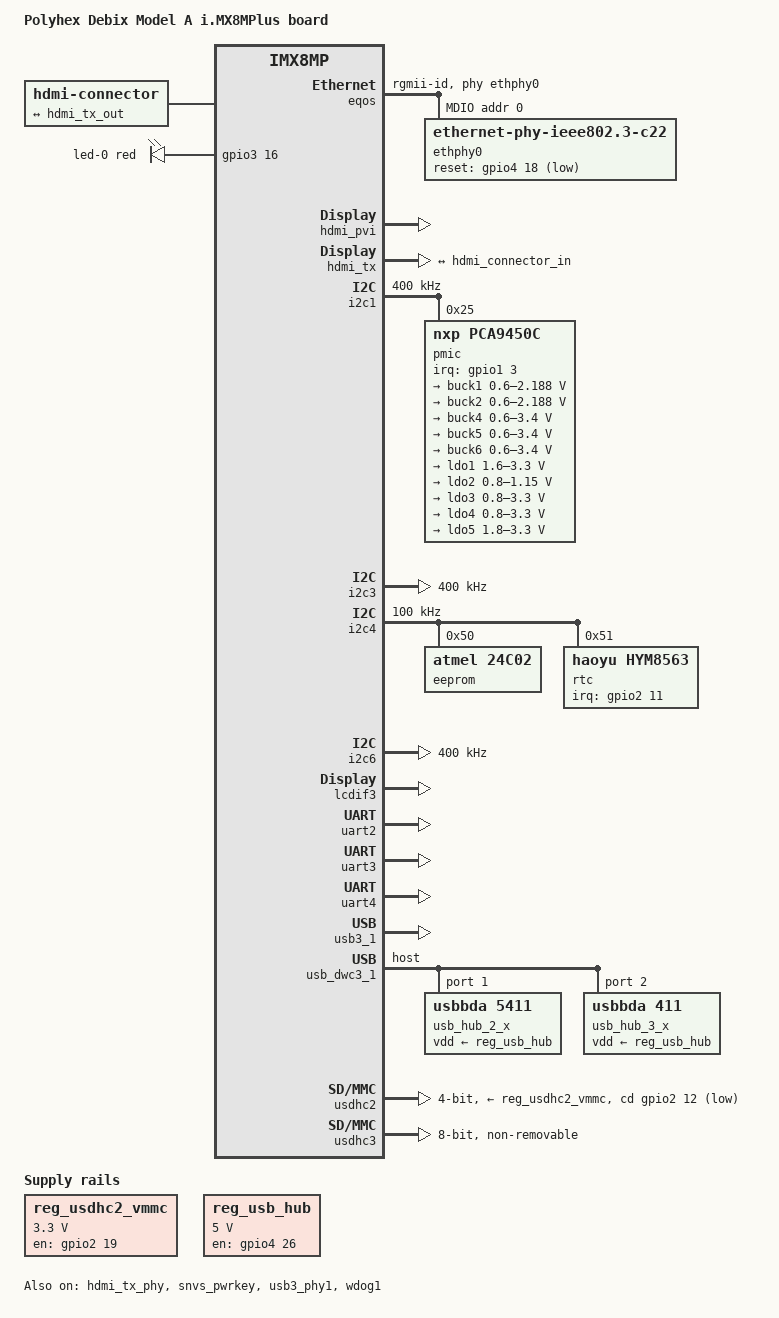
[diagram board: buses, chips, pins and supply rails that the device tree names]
// SPDX-License-Identifier: (GPL-2.0+ OR MIT)
/*
 * Copyright 2019 NXP
 * Copyright 2022 Ideas on Board Oy
 */

/dts-v1/;

#include <dt-bindings/gpio/gpio.h>
#include <dt-bindings/leds/common.h>
#include <dt-bindings/usb/pd.h>

#include "imx8mp.dtsi"

/ {
	model = "Polyhex Debix Model A i.MX8MPlus board";
	compatible = "polyhex,imx8mp-debix-model-a", "polyhex,imx8mp-debix", "fsl,imx8mp";

	chosen {
		stdout-path = &uart2;
	};

	hdmi-connector {
		compatible = "hdmi-connector";
		label = "hdmi";
		type = "a";

		port {
			hdmi_connector_in: endpoint {
				remote-endpoint = <&hdmi_tx_out>;
			};
		};
	};

	leds {
		compatible = "gpio-leds";
		pinctrl-names = "default";
		pinctrl-0 = <&pinctrl_gpio_led>;

		led-0 {
			function = LED_FUNCTION_POWER;
			color = <LED_COLOR_ID_RED>;
			gpios = <&gpio3 16 GPIO_ACTIVE_HIGH>;
			default-state = "on";
		};
	};

	reg_usdhc2_vmmc: regulator-usdhc2 {
		compatible = "regulator-fixed";
		pinctrl-names = "default";
		pinctrl-0 = <&pinctrl_reg_usdhc2_vmmc>;
		regulator-name = "VSD_3V3";
		regulator-min-microvolt = <3300000>;
		regulator-max-microvolt = <3300000>;
		gpio = <&gpio2 19 GPIO_ACTIVE_HIGH>;
		enable-active-high;
	};

	reg_usb_hub: regulator-usb-hub {
		compatible = "regulator-fixed";
		pinctrl-names = "default";
		pinctrl-0 = <&pinctrl_reg_usb_hub>;
		regulator-name = "USB_HUB";
		regulator-min-microvolt = <5000000>;
		regulator-max-microvolt = <5000000>;
		gpio = <&gpio4 26 GPIO_ACTIVE_HIGH>;
		enable-active-high;
	};
};

&A53_0 {
	cpu-supply = <&buck2>;
};

&A53_1 {
	cpu-supply = <&buck2>;
};

&A53_2 {
	cpu-supply = <&buck2>;
};

&A53_3 {
	cpu-supply = <&buck2>;
};

&eqos {
	pinctrl-names = "default";
	pinctrl-0 = <&pinctrl_eqos>;
	phy-mode = "rgmii-id";
	phy-handle = <&ethphy0>;
	status = "okay";

	mdio {
		compatible = "snps,dwmac-mdio";
		#address-cells = <1>;
		#size-cells = <0>;

		ethphy0: ethernet-phy@0 { /* RTL8211E */
			compatible = "ethernet-phy-ieee802.3-c22";
			reg = <0>;
			reset-gpios = <&gpio4 18 GPIO_ACTIVE_LOW>;
			reset-assert-us = <20>;
			reset-deassert-us = <200000>;
		};
	};
};

&hdmi_pvi {
	status = "okay";
};

&hdmi_tx {
	pinctrl-names = "default";
	pinctrl-0 = <&pinctrl_hdmi>;
	status = "okay";

	ports {
		port@1 {
			hdmi_tx_out: endpoint {
				remote-endpoint = <&hdmi_connector_in>;
			};
		};
	};
};

&hdmi_tx_phy {
	status = "okay";
};

&i2c1 {
	clock-frequency = <400000>;
	pinctrl-names = "default";
	pinctrl-0 = <&pinctrl_i2c1>;
	status = "okay";

	pmic@25 {
		compatible = "nxp,pca9450c";
		reg = <0x25>;
		pinctrl-names = "default";
		pinctrl-0 = <&pinctrl_pmic>;
		interrupt-parent = <&gpio1>;
		interrupts = <3 IRQ_TYPE_EDGE_RISING>;

		regulators {
			buck1: BUCK1 {
				regulator-name = "BUCK1";
				regulator-min-microvolt = <600000>;
				regulator-max-microvolt = <2187500>;
				regulator-boot-on;
				regulator-always-on;
				regulator-ramp-delay = <3125>;
			};

			buck2: BUCK2 {
				regulator-name = "BUCK2";
				regulator-min-microvolt = <600000>;
				regulator-max-microvolt = <2187500>;
				regulator-boot-on;
				regulator-always-on;
				regulator-ramp-delay = <3125>;
				nxp,dvs-run-voltage = <950000>;
				nxp,dvs-standby-voltage = <850000>;
			};

			buck4: BUCK4 {
				regulator-name = "BUCK4";
				regulator-min-microvolt = <600000>;
				regulator-max-microvolt = <3400000>;
				regulator-boot-on;
				regulator-always-on;
			};

			buck5: BUCK5 {
				regulator-name = "BUCK5";
				regulator-min-microvolt = <600000>;
				regulator-max-microvolt = <3400000>;
				regulator-boot-on;
				regulator-always-on;
			};

			buck6: BUCK6 {
				regulator-name = "BUCK6";
				regulator-min-microvolt = <600000>;
				regulator-max-microvolt = <3400000>;
				regulator-boot-on;
				regulator-always-on;
			};

			ldo1: LDO1 {
				regulator-name = "LDO1";
				regulator-min-microvolt = <1600000>;
				regulator-max-microvolt = <3300000>;
				regulator-boot-on;
				regulator-always-on;
			};

			ldo2: LDO2 {
				regulator-name = "LDO2";
				regulator-min-microvolt = <800000>;
				regulator-max-microvolt = <1150000>;
				regulator-boot-on;
				regulator-always-on;
			};

			ldo3: LDO3 {
				regulator-name = "LDO3";
				regulator-min-microvolt = <800000>;
				regulator-max-microvolt = <3300000>;
				regulator-boot-on;
				regulator-always-on;
			};

			ldo4: LDO4 {
				regulator-name = "LDO4";
				regulator-min-microvolt = <800000>;
				regulator-max-microvolt = <3300000>;
				regulator-boot-on;
				regulator-always-on;
			};

			ldo5: LDO5 {
				regulator-name = "LDO5";
				regulator-min-microvolt = <1800000>;
				regulator-max-microvolt = <3300000>;
				regulator-boot-on;
				regulator-always-on;
			};
		};
	};
};

&i2c2 {
	pinctrl-names = "default";
	pinctrl-0 = <&pinctrl_i2c2>;
};

&i2c3 {
	clock-frequency = <400000>;
	pinctrl-names = "default";
	pinctrl-0 = <&pinctrl_i2c3>;
	status = "okay";
};

&i2c4 {
	clock-frequency = <100000>;
	pinctrl-names = "default";
	pinctrl-0 = <&pinctrl_i2c4>;
	status = "okay";

	eeprom@50 {
		compatible = "atmel,24c02";
		reg = <0x50>;
		pagesize = <16>;
	};

	rtc@51 {
		compatible = "haoyu,hym8563";
		reg = <0x51>;
		#clock-cells = <0>;
		clock-output-names = "xin32k";
		interrupt-parent = <&gpio2>;
		interrupts = <11 IRQ_TYPE_EDGE_FALLING>;
		pinctrl-names = "default";
		pinctrl-0 = <&pinctrl_rtc_int>;
	};
};

&i2c6 {
	clock-frequency = <400000>;
	pinctrl-names = "default";
	pinctrl-0 = <&pinctrl_i2c6>;
	status = "okay";
};

&lcdif3 {
	status = "okay";
};

&snvs_pwrkey {
	status = "okay";
};

&uart2 {
	/* console */
	pinctrl-names = "default";
	pinctrl-0 = <&pinctrl_uart2>;
	status = "okay";
};

&uart3 {
	pinctrl-names = "default";
	pinctrl-0 = <&pinctrl_uart3>;
	status = "okay";
};

&uart4 {
	pinctrl-names = "default";
	pinctrl-0 = <&pinctrl_uart4>;
	status = "okay";
};

&usb3_phy1 {
	status = "okay";
};

&usb3_1 {
	status = "okay";
};

&usb_dwc3_1 {
	#address-cells = <1>;
	#size-cells = <0>;
	pinctrl-names = "default";
	pinctrl-0 = <&pinctrl_usb1>;
	dr_mode = "host";
	status = "okay";

	/* 2.x hub on port 1 */
	usb_hub_2_x: hub@1 {
		compatible = "usbbda,5411";
		reg = <1>;
		vdd-supply = <&reg_usb_hub>;
		peer-hub = <&usb_hub_3_x>;
	};

	/* 3.x hub on port 2 */
	usb_hub_3_x: hub@2 {
		compatible = "usbbda,411";
		reg = <2>;
		vdd-supply = <&reg_usb_hub>;
		peer-hub = <&usb_hub_2_x>;
	};
};

/* SD Card */
&usdhc2 {
	pinctrl-names = "default", "state_100mhz", "state_200mhz";
	pinctrl-0 = <&pinctrl_usdhc2>, <&pinctrl_usdhc2_gpio>;
	pinctrl-1 = <&pinctrl_usdhc2_100mhz>, <&pinctrl_usdhc2_gpio>;
	pinctrl-2 = <&pinctrl_usdhc2_200mhz>, <&pinctrl_usdhc2_gpio>;
	cd-gpios = <&gpio2 12 GPIO_ACTIVE_LOW>;
	vmmc-supply = <&reg_usdhc2_vmmc>;
	bus-width = <4>;
	status = "okay";
};

/* eMMC */
&usdhc3 {
	assigned-clocks = <&clk IMX8MP_CLK_USDHC3>;
	assigned-clock-rates = <400000000>;
	pinctrl-names = "default", "state_100mhz", "state_200mhz";
	pinctrl-0 = <&pinctrl_usdhc3>;
	pinctrl-1 = <&pinctrl_usdhc3_100mhz>;
	pinctrl-2 = <&pinctrl_usdhc3_200mhz>;
	bus-width = <8>;
	non-removable;
	status = "okay";
};

&wdog1 {
	pinctrl-names = "default";
	pinctrl-0 = <&pinctrl_wdog>;
	fsl,ext-reset-output;
	status = "okay";
};

&iomuxc {
	pinctrl_eqos: eqosgrp {
		fsl,pins = <
			MX8MP_IOMUXC_ENET_MDC__ENET_QOS_MDC				0x3
			MX8MP_IOMUXC_ENET_MDIO__ENET_QOS_MDIO				0x3
			MX8MP_IOMUXC_ENET_RD0__ENET_QOS_RGMII_RD0			0x91
			MX8MP_IOMUXC_ENET_RD1__ENET_QOS_RGMII_RD1			0x91
			MX8MP_IOMUXC_ENET_RD2__ENET_QOS_RGMII_RD2			0x91
			MX8MP_IOMUXC_ENET_RD3__ENET_QOS_RGMII_RD3			0x91
			MX8MP_IOMUXC_ENET_RXC__CCM_ENET_QOS_CLOCK_GENERATE_RX_CLK	0x91
			MX8MP_IOMUXC_ENET_RX_CTL__ENET_QOS_RGMII_RX_CTL			0x91
			MX8MP_IOMUXC_ENET_TD0__ENET_QOS_RGMII_TD0			0x1f
			MX8MP_IOMUXC_ENET_TD1__ENET_QOS_RGMII_TD1			0x1f
			MX8MP_IOMUXC_ENET_TD2__ENET_QOS_RGMII_TD2			0x1f
			MX8MP_IOMUXC_ENET_TD3__ENET_QOS_RGMII_TD3			0x1f
			MX8MP_IOMUXC_ENET_TX_CTL__ENET_QOS_RGMII_TX_CTL			0x1f
			MX8MP_IOMUXC_ENET_TXC__CCM_ENET_QOS_CLOCK_GENERATE_TX_CLK	0x1f
			MX8MP_IOMUXC_SAI1_RXFS__ENET1_1588_EVENT0_IN			0x1f
			MX8MP_IOMUXC_SAI1_RXC__ENET1_1588_EVENT0_OUT			0x1f
			MX8MP_IOMUXC_SAI1_TXD6__GPIO4_IO18				0x19
		>;
	};

	pinctrl_gpio_led: gpioledgrp {
		fsl,pins = <
			MX8MP_IOMUXC_NAND_READY_B__GPIO3_IO16				0x19
		>;
	};

	pinctrl_hdmi: hdmigrp {
		fsl,pins = <
			MX8MP_IOMUXC_HDMI_DDC_SCL__HDMIMIX_HDMI_SCL			0x1c3
			MX8MP_IOMUXC_HDMI_DDC_SDA__HDMIMIX_HDMI_SDA			0x1c3
			MX8MP_IOMUXC_HDMI_HPD__HDMIMIX_HDMI_HPD				0x19
			MX8MP_IOMUXC_HDMI_CEC__HDMIMIX_HDMI_CEC				0x19
		>;
	};

	pinctrl_i2c1: i2c1grp {
		fsl,pins = <
			MX8MP_IOMUXC_I2C1_SCL__I2C1_SCL					0x400001c2
			MX8MP_IOMUXC_I2C1_SDA__I2C1_SDA					0x400001c2
		>;
	};

	pinctrl_i2c2: i2c2grp {
		fsl,pins = <
			MX8MP_IOMUXC_I2C2_SCL__I2C2_SCL					0x400001c2
			MX8MP_IOMUXC_I2C2_SDA__I2C2_SDA					0x400001c2
		>;
	};

	pinctrl_i2c3: i2c3grp {
		fsl,pins = <
			MX8MP_IOMUXC_I2C3_SCL__I2C3_SCL					0x400001c2
			MX8MP_IOMUXC_I2C3_SDA__I2C3_SDA					0x400001c2
		>;
	};

	pinctrl_i2c4: i2c4grp {
		fsl,pins = <
			MX8MP_IOMUXC_I2C4_SCL__I2C4_SCL					0x400001c3
			MX8MP_IOMUXC_I2C4_SDA__I2C4_SDA					0x400001c3
		>;
	};

	pinctrl_i2c6: i2c6grp {
		fsl,pins = <
			MX8MP_IOMUXC_SAI5_RXFS__I2C6_SCL				0x400001c3
			MX8MP_IOMUXC_SAI5_RXC__I2C6_SDA					0x400001c3
		>;
	};

	pinctrl_pmic: pmicirqgrp {
		fsl,pins = <
			MX8MP_IOMUXC_GPIO1_IO03__GPIO1_IO03				0x41
		>;
	};

	pinctrl_reg_usdhc2_vmmc: regusdhc2vmmcgrp {
		fsl,pins = <
			MX8MP_IOMUXC_SD2_RESET_B__GPIO2_IO19				0x41
		>;
	};

	pinctrl_reg_usb_hub: regusbhubgrp {
		fsl,pins = <
			MX8MP_IOMUXC_SAI2_TXD0__GPIO4_IO26				0x19
		>;
	};

	pinctrl_rtc_int: rtcintgrp {
		fsl,pins = <
			MX8MP_IOMUXC_SD1_STROBE__GPIO2_IO11				0x140
		>;
	};

	pinctrl_uart2: uart2grp {
		fsl,pins = <
			MX8MP_IOMUXC_UART2_RXD__UART2_DCE_RX				0x14f
			MX8MP_IOMUXC_UART2_TXD__UART2_DCE_TX				0x14f
		>;
	};

	pinctrl_uart3: uart3grp {
		fsl,pins = <
			MX8MP_IOMUXC_UART3_RXD__UART3_DCE_RX				0x49
			MX8MP_IOMUXC_UART3_TXD__UART3_DCE_TX				0x49
		>;
	};

	pinctrl_uart4: uart4grp {
		fsl,pins = <
			MX8MP_IOMUXC_UART4_RXD__UART4_DCE_RX				0x49
			MX8MP_IOMUXC_UART4_TXD__UART4_DCE_TX				0x49
		>;
	};

	pinctrl_usb1: usb1grp {
		fsl,pins = <
			MX8MP_IOMUXC_GPIO1_IO14__USB2_OTG_PWR				0x10
		>;
	};

	pinctrl_usdhc2: usdhc2grp {
		fsl,pins = <
			MX8MP_IOMUXC_SD2_CLK__USDHC2_CLK				0x190
			MX8MP_IOMUXC_SD2_CMD__USDHC2_CMD				0x1d0
			MX8MP_IOMUXC_SD2_DATA0__USDHC2_DATA0				0x1d0
			MX8MP_IOMUXC_SD2_DATA1__USDHC2_DATA1				0x1d0
			MX8MP_IOMUXC_SD2_DATA2__USDHC2_DATA2				0x1d0
			MX8MP_IOMUXC_SD2_DATA3__USDHC2_DATA3				0x1d0
		>;
	};

	pinctrl_usdhc2_100mhz: usdhc2-100mhzgrp {
		fsl,pins = <
			MX8MP_IOMUXC_SD2_CLK__USDHC2_CLK				0x194
			MX8MP_IOMUXC_SD2_CMD__USDHC2_CMD				0x1d4
			MX8MP_IOMUXC_SD2_DATA0__USDHC2_DATA0				0x1d4
			MX8MP_IOMUXC_SD2_DATA1__USDHC2_DATA1				0x1d4
			MX8MP_IOMUXC_SD2_DATA2__USDHC2_DATA2				0x1d4
			MX8MP_IOMUXC_SD2_DATA3__USDHC2_DATA3				0x1d4
		>;
	};

	pinctrl_usdhc2_200mhz: usdhc2-200mhzgrp {
		fsl,pins = <
			MX8MP_IOMUXC_SD2_CLK__USDHC2_CLK				0x196
			MX8MP_IOMUXC_SD2_CMD__USDHC2_CMD				0x1d6
			MX8MP_IOMUXC_SD2_DATA0__USDHC2_DATA0				0x1d6
			MX8MP_IOMUXC_SD2_DATA1__USDHC2_DATA1				0x1d6
			MX8MP_IOMUXC_SD2_DATA2__USDHC2_DATA2				0x1d6
			MX8MP_IOMUXC_SD2_DATA3__USDHC2_DATA3				0x1d6
		>;
	};

	pinctrl_usdhc2_gpio: usdhc2gpiogrp {
		fsl,pins = <
			MX8MP_IOMUXC_SD2_CD_B__GPIO2_IO12				0x1c4
		>;
	};

	pinctrl_usdhc3: usdhc3grp {
		fsl,pins = <
			MX8MP_IOMUXC_NAND_WE_B__USDHC3_CLK				0x190
			MX8MP_IOMUXC_NAND_WP_B__USDHC3_CMD				0x1d0
			MX8MP_IOMUXC_NAND_DATA04__USDHC3_DATA0				0x1d0
			MX8MP_IOMUXC_NAND_DATA05__USDHC3_DATA1				0x1d0
			MX8MP_IOMUXC_NAND_DATA06__USDHC3_DATA2				0x1d0
			MX8MP_IOMUXC_NAND_DATA07__USDHC3_DATA3				0x1d0
			MX8MP_IOMUXC_NAND_RE_B__USDHC3_DATA4				0x1d0
			MX8MP_IOMUXC_NAND_CE2_B__USDHC3_DATA5				0x1d0
			MX8MP_IOMUXC_NAND_CE3_B__USDHC3_DATA6				0x1d0
			MX8MP_IOMUXC_NAND_CLE__USDHC3_DATA7				0x1d0
			MX8MP_IOMUXC_NAND_CE1_B__USDHC3_STROBE				0x190
		>;
	};

	pinctrl_usdhc3_100mhz: usdhc3-100mhzgrp {
		fsl,pins = <
			MX8MP_IOMUXC_NAND_WE_B__USDHC3_CLK				0x194
			MX8MP_IOMUXC_NAND_WP_B__USDHC3_CMD				0x1d4
			MX8MP_IOMUXC_NAND_DATA04__USDHC3_DATA0				0x1d4
			MX8MP_IOMUXC_NAND_DATA05__USDHC3_DATA1				0x1d4
			MX8MP_IOMUXC_NAND_DATA06__USDHC3_DATA2				0x1d4
			MX8MP_IOMUXC_NAND_DATA07__USDHC3_DATA3				0x1d4
			MX8MP_IOMUXC_NAND_RE_B__USDHC3_DATA4				0x1d4
			MX8MP_IOMUXC_NAND_CE2_B__USDHC3_DATA5				0x1d4
			MX8MP_IOMUXC_NAND_CE3_B__USDHC3_DATA6				0x1d4
			MX8MP_IOMUXC_NAND_CLE__USDHC3_DATA7				0x1d4
			MX8MP_IOMUXC_NAND_CE1_B__USDHC3_STROBE				0x194
		>;
	};

	pinctrl_usdhc3_200mhz: usdhc3-200mhzgrp {
		fsl,pins = <
			MX8MP_IOMUXC_NAND_WE_B__USDHC3_CLK				0x196
			MX8MP_IOMUXC_NAND_WP_B__USDHC3_CMD				0x1d6
			MX8MP_IOMUXC_NAND_DATA04__USDHC3_DATA0				0x1d6
			MX8MP_IOMUXC_NAND_DATA05__USDHC3_DATA1				0x1d6
			MX8MP_IOMUXC_NAND_DATA06__USDHC3_DATA2				0x1d6
			MX8MP_IOMUXC_NAND_DATA07__USDHC3_DATA3				0x1d6
			MX8MP_IOMUXC_NAND_RE_B__USDHC3_DATA4				0x1d6
			MX8MP_IOMUXC_NAND_CE2_B__USDHC3_DATA5				0x1d6
			MX8MP_IOMUXC_NAND_CE3_B__USDHC3_DATA6				0x1d6
			MX8MP_IOMUXC_NAND_CLE__USDHC3_DATA7				0x1d6
			MX8MP_IOMUXC_NAND_CE1_B__USDHC3_STROBE				0x196
		>;
	};

	pinctrl_wdog: wdoggrp {
		fsl,pins = <
			MX8MP_IOMUXC_GPIO1_IO02__WDOG1_WDOG_B				0xc6
		>;
	};
};
